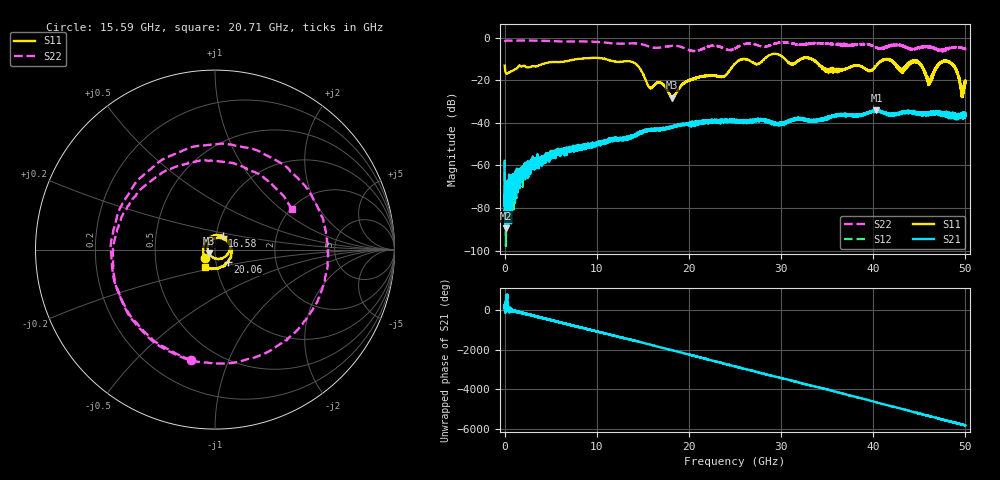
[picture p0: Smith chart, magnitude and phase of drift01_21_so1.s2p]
!Created with skrf (http://scikit-rf.org).
# Hz S RI R 50.0
!freq ReS11 ImS11 ReS21 ImS21 ReS12 ImS12 ReS22 ImS22
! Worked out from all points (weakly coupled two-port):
!   10001 points, 300 kHz to 50 GHz, reference 50 ohm
!   highest |S21| = -34.08 dB at 40.35 GHz (marker M1); lowest = -89.5 dB at 125.3 MHz (marker M2)
!   lowest |S11| = -28.3 dB at 18.16 GHz (marker M3), VSWR 1.08, Z = 46.8 - j1.98 ohm
!   |S11| at or under -10 dB: 10.89 GHz to 25.83 GHz (14.94 GHz wide, 81.4 % of centre); 33.27 GHz to 41.42 GHz (8.151 GHz wide, 21.8 % of centre); 41.42 GHz to end of sweep (the widest 3 of 13)
!   |S22| runs from -6.5 to -1.4 dB; largest |S21 - S12| = 0.0043
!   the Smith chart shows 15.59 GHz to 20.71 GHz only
!   S11 on the Smith chart (normalised r, x): 15.59 GHz: 0.89, -0.09; 16.58 GHz: 1.07, +0.16; 20.06 GHz: 1.14, -0.16; 20.71 GHz: 0.88, -0.18
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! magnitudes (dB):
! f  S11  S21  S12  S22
! 300 kHz  -13.2  -58.5  -57.3  -2.1
! 125.3 MHz  -16.6  -89.5  -84.9  -1.5
! 255.3 MHz  -16.9  -86.9  -79.7  -1.4
! 3.175 GHz  -13.5  -59.0  -59.6  -1.4
! 8.335 GHz  -9.9  -51.0  -51.8  -1.8
! 13.89 GHz  -11.5  -46.2  -46.8  -2.7
! 15.59 GHz  -22.7  -43.2  -43.4  -4.0
! 16.58 GHz  -21.2  -43.2  -43.2  -4.8
! 16.67 GHz  -21.1  -42.9  -43.4  -4.8
! 18.16 GHz  -28.3  -41.7  -42.1  -3.9
! 20.06 GHz  -19.9  -40.6  -40.7  -6.0
! 20.71 GHz  -18.9  -40.7  -40.2  -6.3
! 25 GHz  -12.2  -39.1  -39.6  -5.1
! 33.34 GHz  -10.2  -39.1  -39.0  -2.6
! 35.1 GHz  -15.7  -37.7  -37.5  -2.8
! 40.35 GHz  -13.2  -34.1  -34.4  -4.7
! 41.67 GHz  -10.4  -36.2  -35.9  -4.3
! 44.78 GHz  -11.8  -35.0  -35.8  -5.0
! 46.1 GHz  -21.7  -35.5  -35.5  -4.3
! 48.07 GHz  -11.1  -35.9  -36.1  -5.0
! 49.64 GHz  -24.9  -37.3  -36.5  -4.8
! 50 GHz  -20.4  -35.7  -36.3  -5.4
